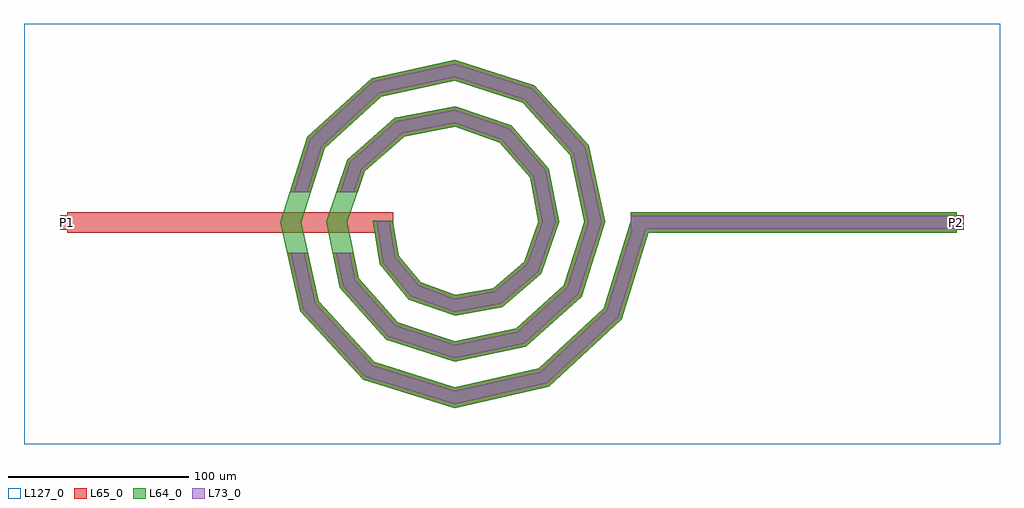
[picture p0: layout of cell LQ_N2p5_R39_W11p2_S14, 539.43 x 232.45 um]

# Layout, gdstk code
import gdstk
lib = gdstk.Library(unit=1e-6, precision=1e-09)
def R(c, l, rs):  # rectangles x0, y0, x1, y1
    for r in rs: c.add(gdstk.rectangle(r[:2], r[2:], *l))
def P(c, l, *ps):  # polygons
    for p in ps: c.add(gdstk.Polygon(p, *l))
L64_0 = (64, 0)
L65_0 = (65, 0)
L73_0 = (73, 0)
L127_0 = (127, 0)

lq_n2p5_r39_w11p2_s14 = lib.new_cell('LQ_N2p5_R39_W11p2_S14')
R(lq_n2p5_r39_w11p2_s14, L64_0, [(97.576,-5.6,277.576,5.6)])
P(lq_n2p5_r39_w11p2_s14, L64_0, [(-30.727,-18.377),(-18.506,-33.103),(0.5,-40.043),(21.497,-36.278),(38.584,-21.748),(46.412,0.439),(41.821,24.633),(24.977,44.074),(0.392,52.781),(-27.78,47.36),(-49.571,28.198),(-59.152,0.353),(-52.895,-30.934),(-31.412,-55.071),(0.322,-65.523),(34.094,-58.427),(60.575,-34.622),(71.894,0.296),(63.958,37.258),(37.828,66.081),(0.273,78.266),(-40.426,69.486),(-71.589,41.032),(-84.638,0.254),(-75.014,-43.596),(-44.233,-77.099),(0.237,-91.01),(46.768,-80.54),(82.61,-47.432),(97.827,1.658),(108.525,-1.658),(92.417,-53.62),(52.16,-90.807),(0.237,-102.597),(-50.446,-86.89),(-85.296,-48.959),(-96.223,0.254),(-81.362,47.275),(-45.757,79.786),(0.273,89.85),(44.105,75.832),(74.277,42.551),(83.476,0.296),(70.301,-40.939),(39.343,-68.769),(0.322,-77.103),(-37.776,-64.767),(-63.264,-36.13),(-70.729,0.353),(-59.23,34.618),(-32.912,57.761),(0.392,64.354),(31.466,53.688),(52.262,29.686),(57.978,0.439),(48.141,-28.323),(26.449,-46.768),(0.5,-51.601),(-25.192,-42.585),(-41.281,-23.197),(-44.974,0.916),(-33.925,0.916)])
R(lq_n2p5_r39_w11p2_s14, L65_0, [(-213.85,-5.6,-33.85,5.6), (97.576,-5.6,277.576,5.6), (-217.85,-4,-209.85,4), (273.576,-4,281.576,4)])
P(lq_n2p5_r39_w11p2_s14, L65_0, [(-75.014,-43.596),(-44.233,-77.099),(0.237,-91.01),(46.768,-80.54),(82.61,-47.432),(97.827,1.658),(108.525,-1.658),(92.417,-53.62),(52.16,-90.807),(0.237,-102.597),(-50.446,-86.89),(-85.296,-48.959),(-92.437,-16.8),(-80.964,-16.8)],
  [(-52.895,-30.934),(-31.412,-55.071),(0.322,-65.523),(34.094,-58.428),(60.575,-34.622),(71.894,0.296),(63.958,37.258),(37.828,66.081),(0.273,78.266),(-40.426,69.487),(-71.589,41.032),(-79.248,16.8),(-90.994,16.8),(-81.362,47.275),(-45.757,79.786),(0.273,89.85),(44.106,75.833),(74.277,42.551),(83.477,0.296),(70.301,-40.939),(39.343,-68.769),(0.322,-77.103),(-37.776,-64.767),(-63.264,-36.13),(-67.219,-16.8),(-55.787,-16.8)],
  [(-18.506,-33.103),(0.5,-40.043),(21.497,-36.278),(38.584,-21.748),(46.412,0.439),(41.821,24.633),(24.977,44.074),(0.392,52.781),(-27.78,47.36),(-49.571,28.198),(-53.396,16.8),(-65.209,16.8),(-59.23,34.618),(-32.912,57.761),(0.392,64.354),(31.466,53.688),(52.262,29.686),(57.978,0.439),(48.141,-28.323),(26.45,-46.768),(0.5,-51.601),(-25.192,-42.585),(-41.281,-23.197),(-44.974,0.916),(-33.925,0.916),(-30.727,-18.377)])
R(lq_n2p5_r39_w11p2_s14, L73_0, [(97.576,-3.6,277.576,3.6)])
P(lq_n2p5_r39_w11p2_s14, L73_0, [(-76.85,-44.554),(-45.342,-78.847),(0.153,-93.079),(47.731,-82.374),(84.361,-48.537),(99.737,1.066),(106.615,-1.066),(90.666,-52.515),(51.197,-88.974),(0.153,-100.528),(-49.337,-85.142),(-83.46,-48.001),(-90.388,-16.8),(-83.013,-16.8)],
  [(-54.747,-31.862),(-32.549,-56.803),(0.207,-67.591),(35.031,-60.274),(62.312,-35.75),(73.963,0.19),(65.8,38.204),(38.949,67.822),(0.176,80.335),(-41.378,71.326),(-73.334,42.147),(-81.345,16.8),(-88.896,16.8),(-79.617,46.16),(-44.805,77.946),(0.176,87.782),(42.985,74.091),(72.434,41.606),(81.408,0.19),(68.564,-39.811),(38.406,-66.923),(0.207,-75.035),(-36.64,-63.036),(-61.412,-35.202),(-65.177,-16.8),(-57.828,-16.8)],
  [(-19.7,-34.796),(0.322,-42.107),(22.381,-38.151),(40.291,-22.922),(48.477,0.283),(43.686,25.535),(26.136,45.791),(0.252,54.848),(-28.696,49.217),(-51.296,29.344),(-55.505,16.8),(-63.1,16.8),(-57.505,33.472),(-31.996,55.904),(0.252,62.287),(30.308,51.972),(50.398,28.784),(55.913,0.283),(46.434,-27.149),(25.565,-44.895),(0.322,-49.537),(-23.998,-40.891),(-39.396,-22.337),(-43.001,0.589),(-35.898,0.589),(-32.612,-19.237)])
R(lq_n2p5_r39_w11p2_s14, L127_0, [(-237.85,-122.597,301.576,109.85)])
lq_n2p5_r39_w11p2_s14.add(gdstk.Label('P2', (277.576,0), layer=65, texttype=0))
lq_n2p5_r39_w11p2_s14.add(gdstk.Label('P1', (-213.85,0), layer=65, texttype=0))
lq_n2p5_r39_w11p2_s14.add(gdstk.Label('P2', (281.576,0), layer=145, texttype=0))
lq_n2p5_r39_w11p2_s14.add(gdstk.Label('P1', (-217.85,0), layer=145, texttype=0))

lib.write_gds('LQ_N2p5_R39_W11p2_S14.gds')
